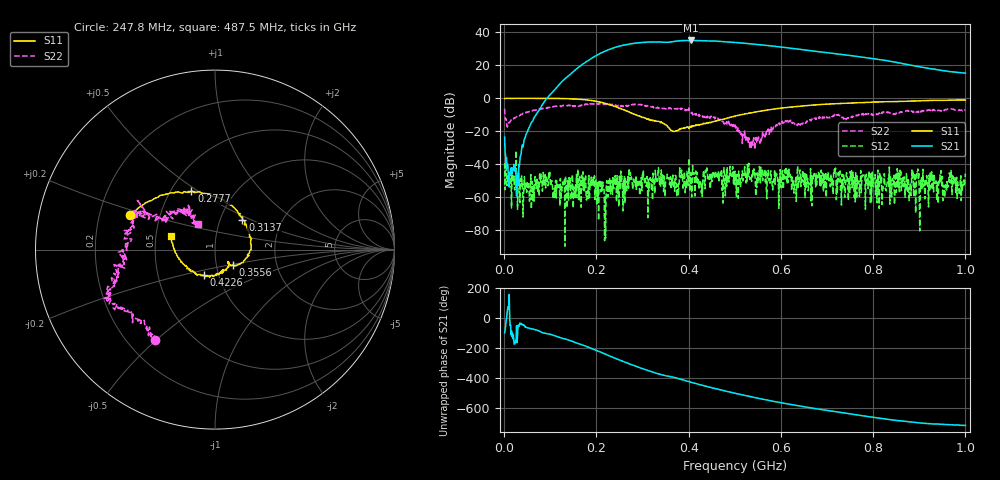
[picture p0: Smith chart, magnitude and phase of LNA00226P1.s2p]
! Created with skrf 1.9.0 (http://scikit-rf.org).
# Hz S RI R 50.0
!freq ReS11 ImS11 ReS21 ImS21 ReS12 ImS12 ReS22 ImS22
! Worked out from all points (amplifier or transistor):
!   1001 points, 1 MHz to 1 GHz, reference 50 ohm
!   highest |S21| = 35.0 dB at 404.6 MHz (marker M1)
!   |S21| within 3 dB of that: 256.6 MHz to 568.8 MHz (312.3 MHz wide, 75.7 % of centre)
!   unconditionally stable (mu >= 1): 4.417 MHz to 99.75 MHz; 301.8 MHz to 400.3 MHz; 400.9 MHz to end of sweep (the widest 3 of 24)
!   at 166.8 MHz: K = 8.63, MAG = 30.6 dB, |S12| = -66.0 dB
!   at 500.5 MHz: K = 1.64, MAG = 34.3 dB, |S12| = -44.1 dB
!   at 1 GHz: K = 2.39, MAG = 23.8 dB, |S12| = -45.6 dB
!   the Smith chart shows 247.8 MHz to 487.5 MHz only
!   S11 on the Smith chart (normalised r, x): 247.8 MHz: 0.33, +0.18; 277.7 MHz: 0.63, +0.47; 313.7 MHz: 1.27, +0.44; 355.6 MHz: 1.20, -0.21; 422.6 MHz: 0.85, -0.25; 487.5 MHz: 0.60, +0.10
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1000000  0.9796 -0.00319  -0.0109 -0.0662  -0.0108 0.00205  0.3224 0.3586
1.08892e8  0.5122 -0.8479  -0.812 -1.589  0.00122 -0.00142  0.4238 -0.373
1.67833e8  -0.2472 -0.8884  -10.2 -0.5692  0.00363 -0.00292  0.0373 -0.6293
2.11789e8  -0.6734 -0.3339  -15.38 18.72  -0.00041 0.00136  -0.1927 -0.6346
2.47753e8  -0.4756 0.1944  4.341 37.09  0.00293 0.000403  -0.3358 -0.5044
2.77723e8  -0.1316 0.3254  30.71 33.48  -0.000195 0.00279  -0.5591 -0.335
3.13687e8  0.1524 0.1656  49.74 7.088  -0.000411 -0.0015  -0.5499 -0.1762
3.34666e8  0.2008 -0.0019  49.66 -10.59  0.00273 0.0075  -0.489 -0.0607
3.55645e8  0.1007 -0.0865  44.18 -22.96  -0.00344 -0.00132  -0.4691 0.0952
3.77623e8  0.0749 -0.0769  39.84 -37.27  0.000923 -0.000686  -0.4319 0.2
4.04596e8  0.0125 -0.1327  21.47 -52.13  0.00063 -0.00166  -0.3348 0.1551
4.22578e8  -0.0598 -0.1431  7.246 -55.41  0.00173 0.000411  -0.2407 0.2154
4.53547e8  -0.1833 -0.0725  -15.64 -51.79  0.00351 0.00461  -0.1653 0.204
4.87513e8  -0.2464 0.0761  -33.69 -37.77  0.00264 0.00122  -0.0928 0.1451
5.005e8  -0.2467 0.1374  -38.43 -31.02  -0.00611 -0.00132  -0.1023 0.1366
5.4046e8  -0.1727 0.3361  -42.83 -9.132  0.00427 0.00341  -0.0489 0.0282
5.85415e8  0.0111 0.4733  -36.3 10.26  0.00259 -0.00225  -0.1221 -0.0522
6.25375e8  0.1947 0.5164  -25.37 19.89  -0.000778 -0.0033  -0.1502 -0.1059
6.67333e8  0.3925 0.4801  -13.59 23.51  -0.000436 -0.000351  -0.232 -0.0163
7.53247e8  0.6642 0.2761  3.426 19.13  -0.00599 -0.00233  -0.2799 0.0388
8.34166e8  0.7872 0.0198  9.604 9.389  -0.00209 -0.000586  -0.3665 0.0586
1e9  0.7293 -0.5167  5.783 0.425  -0.00231 0.00473  -0.2313 0.357
